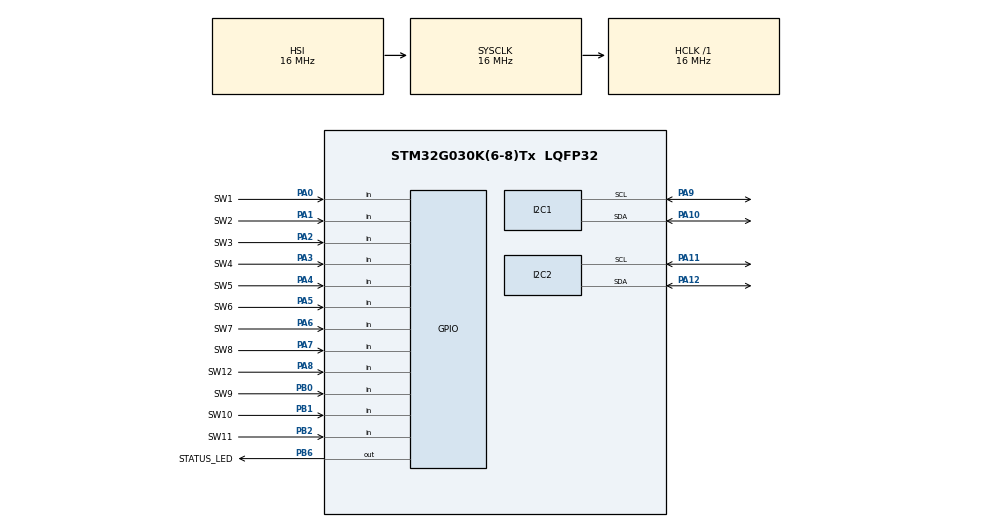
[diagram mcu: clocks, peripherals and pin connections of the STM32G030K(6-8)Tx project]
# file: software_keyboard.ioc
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I2C1.NoStretchMode=I2C_NOSTRETCH_DISABLE
I2C1.OwnAddress=0x14
Mcu.Family=STM32G0
Mcu.Name=STM32G030K(6-8)Tx
Mcu.Package=LQFP32
NVIC.TIM14_IRQn=true\:0\:0\:false\:false\:true\:true\:true\:true
PA0.GPIO_Label=SW1
PA0.Signal=GPIO_Input
PA1.GPIO_Label=SW2
PA1.Signal=GPIO_Input
PA10.Mode=I2C
PA10.Signal=I2C1_SDA
PA11\ [PA9].Mode=I2C
PA11\ [PA9].Signal=I2C2_SCL
PA12\ [PA10].Mode=I2C
PA12\ [PA10].Signal=I2C2_SDA
PA13.Mode=Serial_Wire
PA13.Signal=SYS_SWDIO
PA14-BOOT0.Mode=Serial_Wire
PA14-BOOT0.Signal=SYS_SWCLK
PA2.GPIO_Label=SW3
PA2.Signal=GPIO_Input
PA3.GPIO_Label=SW4
PA3.Signal=GPIO_Input
PA4.GPIO_Label=SW5
PA4.Signal=GPIO_Input
PA5.GPIO_Label=SW6
PA5.Signal=GPIO_Input
PA6.GPIO_Label=SW7
PA6.Signal=GPIO_Input
PA7.GPIO_Label=SW8
PA7.Signal=GPIO_Input
PA8.GPIO_Label=SW12
PA8.Signal=GPIO_Input
PA9.Mode=I2C
PA9.Signal=I2C1_SCL
PB0.GPIO_Label=SW9
PB0.Signal=GPIO_Input
PB1.GPIO_Label=SW10
PB1.Signal=GPIO_Input
PB2.GPIO_Label=SW11
PB2.Signal=GPIO_Input
PB6.GPIO_Label=STATUS_LED
PB6.Signal=GPIO_Output
ProjectManager.HeapSize=0x200
ProjectManager.StackSize=0x400
ProjectManager.TargetToolchain=EWARM V8.50
RCC.AHBFreq_Value=16000000
RCC.CortexFreq_Value=16000000
RCC.EXTERNAL_CLOCK_VALUE=12288000
RCC.HCLKFreq_Value=16000000
RCC.HSE_VALUE=8000000
RCC.HSI_VALUE=16000000
RCC.LSE_VALUE=32768
RCC.SYSCLKFreq_VALUE=16000000
RCC.VCOOutputFreq_Value=128000000
TIM14.Period=10000-1
TIM14.Prescaler=16-1
VP_TIM14_VS_ClockSourceINT.Mode=Enable_Timer
board=custom

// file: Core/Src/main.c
/* USER CODE BEGIN Header */
/**
  ******************************************************************************
  * @file           : main.c
  * @brief          : Main program body
  ******************************************************************************
  * @attention
  *
  * Copyright (c) 2023 STMicroelectronics.
  * All rights reserved.
  *
  * This software is licensed under terms that can be found in the LICENSE file
  * in the root directory of this software component.
  * If no LICENSE file comes with this software, it is provided AS-IS.
  *
  ******************************************************************************
  */
/* USER CODE END Header */
#include "main.h"

/* USER CODE BEGIN Includes */
#include <stdbool.h>
#include "digitalsynth_key_i2c.h"
#include "digitalsynth_keyit.h"
/* USER CODE END Includes */

/* USER CODE BEGIN PD */

//define
//I2C defines
#define TXSIZE 2
#define RXSIZE  3
#define TICKDELAY 20     //20ms - num/ms/s
//#define SWITCHDELAY 30/1000*16000000    //30ms - num/ms/s

/* USER CODE END PD */

I2C_HandleTypeDef hi2c1;
I2C_HandleTypeDef hi2c2;

TIM_HandleTypeDef htim14;

/* USER CODE BEGIN PV */
HAL_StatusTypeDef status;
//I2C global variables
uint8_t TxData[TXSIZE] = {1, 0};
uint8_t txcount = 0;

//keyboard
uI2CKeyControls sCont;
/* USER CODE END PV */

void SystemClock_Config(void);
static void MX_GPIO_Init(void);
static void MX_I2C1_Init(void);
static void MX_I2C2_Init(void);
static void MX_TIM14_Init(void);
/* USER CODE BEGIN PFP */
void i2c_reset();
/* USER CODE END PFP */

int main(void)
{

  /* MCU Configuration--------------------------------------------------------*/

  /* Reset of all peripherals, Initializes the Flash interface and the Systick. */
  HAL_Init();

  /* Configure the system clock */
  SystemClock_Config();

  /* Initialize all configured peripherals */
  MX_GPIO_Init();
  MX_I2C1_Init();
  MX_I2C2_Init();
  MX_TIM14_Init();

  /* Infinite loop */
  /* USER CODE BEGIN WHILE */
  HAL_TIM_Base_Start_IT(&htim14);
  uint8_t u8ErrorFlag = 0;
  uint32_t u32ErrorTick = 0;
  while (1)
  {
    //I2C communication
    status = HAL_I2C_Slave_Transmit(&hi2c1, sCont.au8I2CKeyByteAccess, TXSIZE,100);

    //if the line is busy, reset
    if( (status != HAL_OK) & (u8ErrorFlag==0) ){
      u8ErrorFlag = 1;
      u32ErrorTick = HAL_GetTick();
    }
    if( ( status != HAL_OK ) & ( HAL_GetTick() > (u32ErrorTick+250) ) & (u8ErrorFlag==1) ){
      i2c_reset(&hi2c1);
      u8ErrorFlag = 0;
    }
    /* USER CODE END WHILE */

  }
}

void SystemClock_Config(void)
{
  RCC_OscInitTypeDef RCC_OscInitStruct = {0};
  RCC_ClkInitTypeDef RCC_ClkInitStruct = {0};

  /** Configure the main internal regulator output voltage
  */
  HAL_PWREx_ControlVoltageScaling(PWR_REGULATOR_VOLTAGE_SCALE1);

  /** Initializes the RCC Oscillators according to the specified parameters
  * in the RCC_OscInitTypeDef structure.
  */
  RCC_OscInitStruct.OscillatorType = RCC_OSCILLATORTYPE_HSI;
  RCC_OscInitStruct.HSIState = RCC_HSI_ON;
  RCC_OscInitStruct.HSIDiv = RCC_HSI_DIV1;
  RCC_OscInitStruct.HSICalibrationValue = RCC_HSICALIBRATION_DEFAULT;
  RCC_OscInitStruct.PLL.PLLState = RCC_PLL_NONE;
  if (HAL_RCC_OscConfig(&RCC_OscInitStruct) != HAL_OK)
  {
    Error_Handler();
  }

  /** Initializes the CPU, AHB and APB buses clocks
  */
  RCC_ClkInitStruct.ClockType = RCC_CLOCKTYPE_HCLK|RCC_CLOCKTYPE_SYSCLK
                              |RCC_CLOCKTYPE_PCLK1;
  RCC_ClkInitStruct.SYSCLKSource = RCC_SYSCLKSOURCE_HSI;
  RCC_ClkInitStruct.AHBCLKDivider = RCC_SYSCLK_DIV1;
  RCC_ClkInitStruct.APB1CLKDivider = RCC_HCLK_DIV1;

  if (HAL_RCC_ClockConfig(&RCC_ClkInitStruct, FLASH_LATENCY_0) != HAL_OK)
  {
    Error_Handler();
  }
}

static void MX_I2C1_Init(void)
{

  hi2c1.Instance = I2C1;
  hi2c1.Init.Timing = 0x00303D5B;
  hi2c1.Init.OwnAddress1 = 40;
  hi2c1.Init.AddressingMode = I2C_ADDRESSINGMODE_7BIT;
  hi2c1.Init.DualAddressMode = I2C_DUALADDRESS_DISABLE;
  hi2c1.Init.OwnAddress2 = 0;
  hi2c1.Init.OwnAddress2Masks = I2C_OA2_NOMASK;
  hi2c1.Init.GeneralCallMode = I2C_GENERALCALL_DISABLE;
  hi2c1.Init.NoStretchMode = I2C_NOSTRETCH_DISABLE;
  if (HAL_I2C_Init(&hi2c1) != HAL_OK)
  {
    Error_Handler();
  }

  /** Configure Analogue filter
  */
  if (HAL_I2CEx_ConfigAnalogFilter(&hi2c1, I2C_ANALOGFILTER_ENABLE) != HAL_OK)
  {
    Error_Handler();
  }

  /** Configure Digital filter
  */
  if (HAL_I2CEx_ConfigDigitalFilter(&hi2c1, 0) != HAL_OK)
  {
    Error_Handler();
  }

}

static void MX_I2C2_Init(void)
{

  hi2c2.Instance = I2C2;
  hi2c2.Init.Timing = 0x00303D5B;
  hi2c2.Init.OwnAddress1 = 0;
  hi2c2.Init.AddressingMode = I2C_ADDRESSINGMODE_7BIT;
  hi2c2.Init.DualAddressMode = I2C_DUALADDRESS_DISABLE;
  hi2c2.Init.OwnAddress2 = 0;
  hi2c2.Init.OwnAddress2Masks = I2C_OA2_NOMASK;
  hi2c2.Init.GeneralCallMode = I2C_GENERALCALL_DISABLE;
  hi2c2.Init.NoStretchMode = I2C_NOSTRETCH_DISABLE;
  if (HAL_I2C_Init(&hi2c2) != HAL_OK)
  {
    Error_Handler();
  }

  /** Configure Analogue filter
  */
  if (HAL_I2CEx_ConfigAnalogFilter(&hi2c2, I2C_ANALOGFILTER_ENABLE) != HAL_OK)
  {
    Error_Handler();
  }

  /** Configure Digital filter
  */
  if (HAL_I2CEx_ConfigDigitalFilter(&hi2c2, 0) != HAL_OK)
  {
    Error_Handler();
  }

}

static void MX_TIM14_Init(void)
{

  htim14.Instance = TIM14;
  htim14.Init.Prescaler = 16-1;
  htim14.Init.CounterMode = TIM_COUNTERMODE_UP;
  htim14.Init.Period = 10000-1;
  htim14.Init.ClockDivision = TIM_CLOCKDIVISION_DIV1;
  htim14.Init.AutoReloadPreload = TIM_AUTORELOAD_PRELOAD_DISABLE;
  if (HAL_TIM_Base_Init(&htim14) != HAL_OK)
  {
    Error_Handler();
  }

}

static void MX_GPIO_Init(void)
{
  GPIO_InitTypeDef GPIO_InitStruct = {0};

  /* GPIO Ports Clock Enable */
  __HAL_RCC_GPIOA_CLK_ENABLE();
  __HAL_RCC_GPIOB_CLK_ENABLE();

  /*Configure GPIO pin Output Level */
  HAL_GPIO_WritePin(STATUS_LED_GPIO_Port, STATUS_LED_Pin, GPIO_PIN_RESET);

  /*Configure GPIO pins : SW1_Pin SW2_Pin SW3_Pin SW4_Pin
                           SW5_Pin SW6_Pin SW7_Pin SW8_Pin
                           SW12_Pin */
  GPIO_InitStruct.Pin = SW1_Pin|SW2_Pin|SW3_Pin|SW4_Pin
                          |SW5_Pin|SW6_Pin|SW7_Pin|SW8_Pin
                          |SW12_Pin;
  GPIO_InitStruct.Mode = GPIO_MODE_INPUT;
  GPIO_InitStruct.Pull = GPIO_NOPULL;
  HAL_GPIO_Init(GPIOA, &GPIO_InitStruct);

  /*Configure GPIO pins : SW9_Pin SW10_Pin SW11_Pin */
  GPIO_InitStruct.Pin = SW9_Pin|SW10_Pin|SW11_Pin;
  GPIO_InitStruct.Mode = GPIO_MODE_INPUT;
  GPIO_InitStruct.Pull = GPIO_NOPULL;
  HAL_GPIO_Init(GPIOB, &GPIO_InitStruct);

  /*Configure GPIO pin : STATUS_LED_Pin */
  GPIO_InitStruct.Pin = STATUS_LED_Pin;
  GPIO_InitStruct.Mode = GPIO_MODE_OUTPUT_PP;
  GPIO_InitStruct.Pull = GPIO_NOPULL;
  GPIO_InitStruct.Speed = GPIO_SPEED_FREQ_LOW;
  HAL_GPIO_Init(STATUS_LED_GPIO_Port, &GPIO_InitStruct);

}

/* USER CODE BEGIN 4 */
void i2c_reset(I2C_HandleTypeDef *hi2c){
  SET_BIT(hi2c->Instance->CR1, I2C_CR1_SWRST);
  HAL_Delay( 10 );
  CLEAR_BIT(hi2c->Instance->CR1, I2C_CR1_SWRST);
  //MX_GPIO_Init();
  MX_I2C1_Init();
}
/* USER CODE END 4 */

void Error_Handler(void)
{
  __disable_irq();
  while (1)
  {
  }
}
